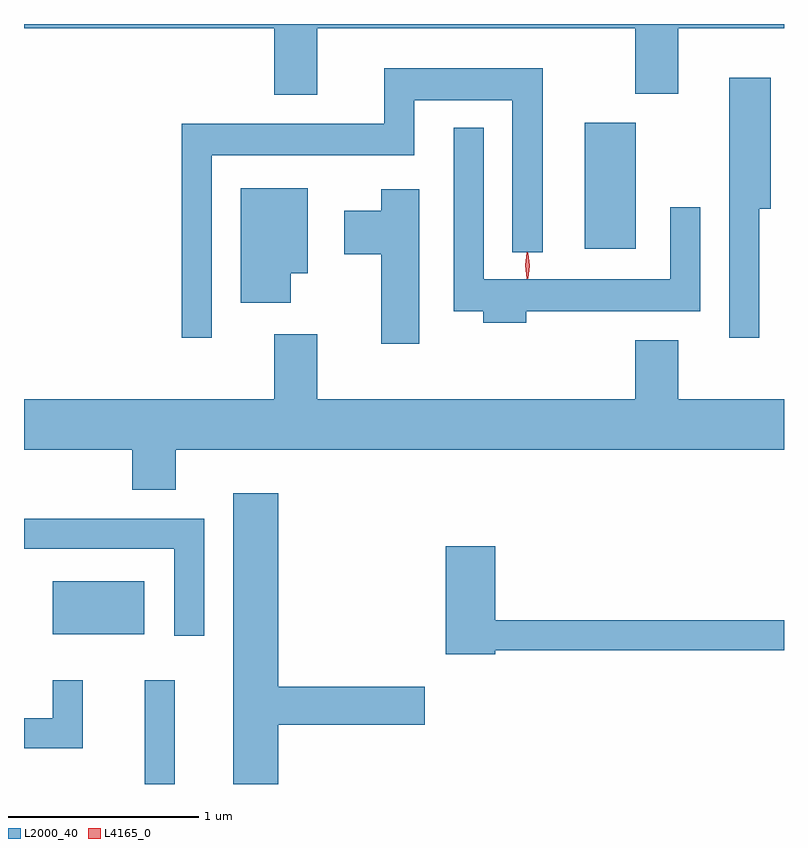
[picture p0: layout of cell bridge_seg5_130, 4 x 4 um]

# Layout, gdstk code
import gdstk
lib = gdstk.Library(unit=1e-6, precision=1e-09)
def R(c, l, rs):  # rectangles x0, y0, x1, y1
    for r in rs: c.add(gdstk.rectangle(r[:2], r[2:], *l))
def P(c, l, *ps):  # polygons
    for p in ps: c.add(gdstk.Polygon(p, *l))
L2000_40 = (2000, 40)
L4165_0 = (4165, 0)

bridge_seg5_130 = lib.new_cell('bridge_seg5_130')
R(bridge_seg5_130, L2000_40, [(1217.491,1412.858,1217.649,1413.403), (1217.006,1413.646,1217.489,1413.924), (1219.806,1415.676,1220.074,1416.339)])
P(bridge_seg5_130, L2000_40, [(1218.399,1416.836),(1220.071,1416.836),(1220.071,1416.491),(1220.299,1416.491),(1220.299,1416.836),(1220.855,1416.836),(1220.855,1416.858),(1216.855,1416.858),(1216.855,1416.836),(1218.171,1416.836),(1218.171,1416.486),(1218.399,1416.486)],
  [(1217.844,1416.166),(1218.909,1416.166),(1218.909,1416.456),(1219.426,1416.456),(1219.426,1415.658),(1219.584,1415.658),(1219.584,1416.624),(1218.751,1416.624),(1218.751,1416.334),(1217.686,1416.334),(1217.686,1415.208),(1217.844,1415.208)],
  [(1220.724,1415.886),(1220.784,1415.886),(1220.784,1416.574),(1220.566,1416.574),(1220.566,1415.208),(1220.724,1415.208)],
  [(1219.499,1415.346),(1220.414,1415.346),(1220.414,1415.893),(1220.256,1415.893),(1220.256,1415.514),(1219.274,1415.514),(1219.274,1416.313),(1219.116,1416.313),(1219.116,1415.346),(1219.271,1415.346),(1219.271,1415.286),(1219.499,1415.286)],
  [(1218.259,1415.546),(1218.349,1415.546),(1218.349,1415.994),(1217.996,1415.994),(1217.996,1415.391),(1218.259,1415.391)],
  [(1218.934,1415.989),(1218.736,1415.989),(1218.736,1415.874),(1218.541,1415.874),(1218.541,1415.646),(1218.736,1415.646),(1218.736,1415.176),(1218.934,1415.176)],
  [(1217.654,1414.616),(1220.855,1414.616),(1220.855,1414.884),(1220.299,1414.884),(1220.299,1415.194),(1220.071,1415.194),(1220.071,1414.884),(1218.399,1414.884),(1218.399,1415.224),(1218.171,1415.224),(1218.171,1414.884),(1216.855,1414.884),(1216.855,1414.616),(1217.426,1414.616),(1217.426,1414.406),(1217.654,1414.406)],
  [(1218.194,1413.171),(1218.964,1413.171),(1218.964,1413.369),(1218.194,1413.369),(1218.194,1414.389),(1217.956,1414.389),(1217.956,1412.858),(1218.194,1412.858)],
  [(1217.804,1414.254),(1216.855,1414.254),(1216.855,1414.096),(1217.646,1414.096),(1217.646,1413.638),(1217.804,1413.638)],
  [(1219.334,1413.561),(1220.855,1413.561),(1220.855,1413.719),(1219.334,1413.719),(1219.334,1414.109),(1219.076,1414.109),(1219.076,1413.541),(1219.334,1413.541)],
  [(1217.164,1413.403),(1217.006,1413.403),(1217.006,1413.204),(1216.855,1413.204),(1216.855,1413.046),(1217.164,1413.046)])
P(bridge_seg5_130, L4165_0, [(1219.507,1415.52),(1219.507,1415.52),(1219.497,1415.586),(1219.507,1415.652),(1219.507,1415.653),(1219.508,1415.652),(1219.517,1415.586),(1219.508,1415.52)],
  [(1219.502,1415.517),(1219.502,1415.517),(1219.492,1415.587),(1219.502,1415.656),(1219.502,1415.656),(1219.503,1415.656),(1219.512,1415.587),(1219.503,1415.517)])

lib.write_gds('bridge_seg5_130.gds')
